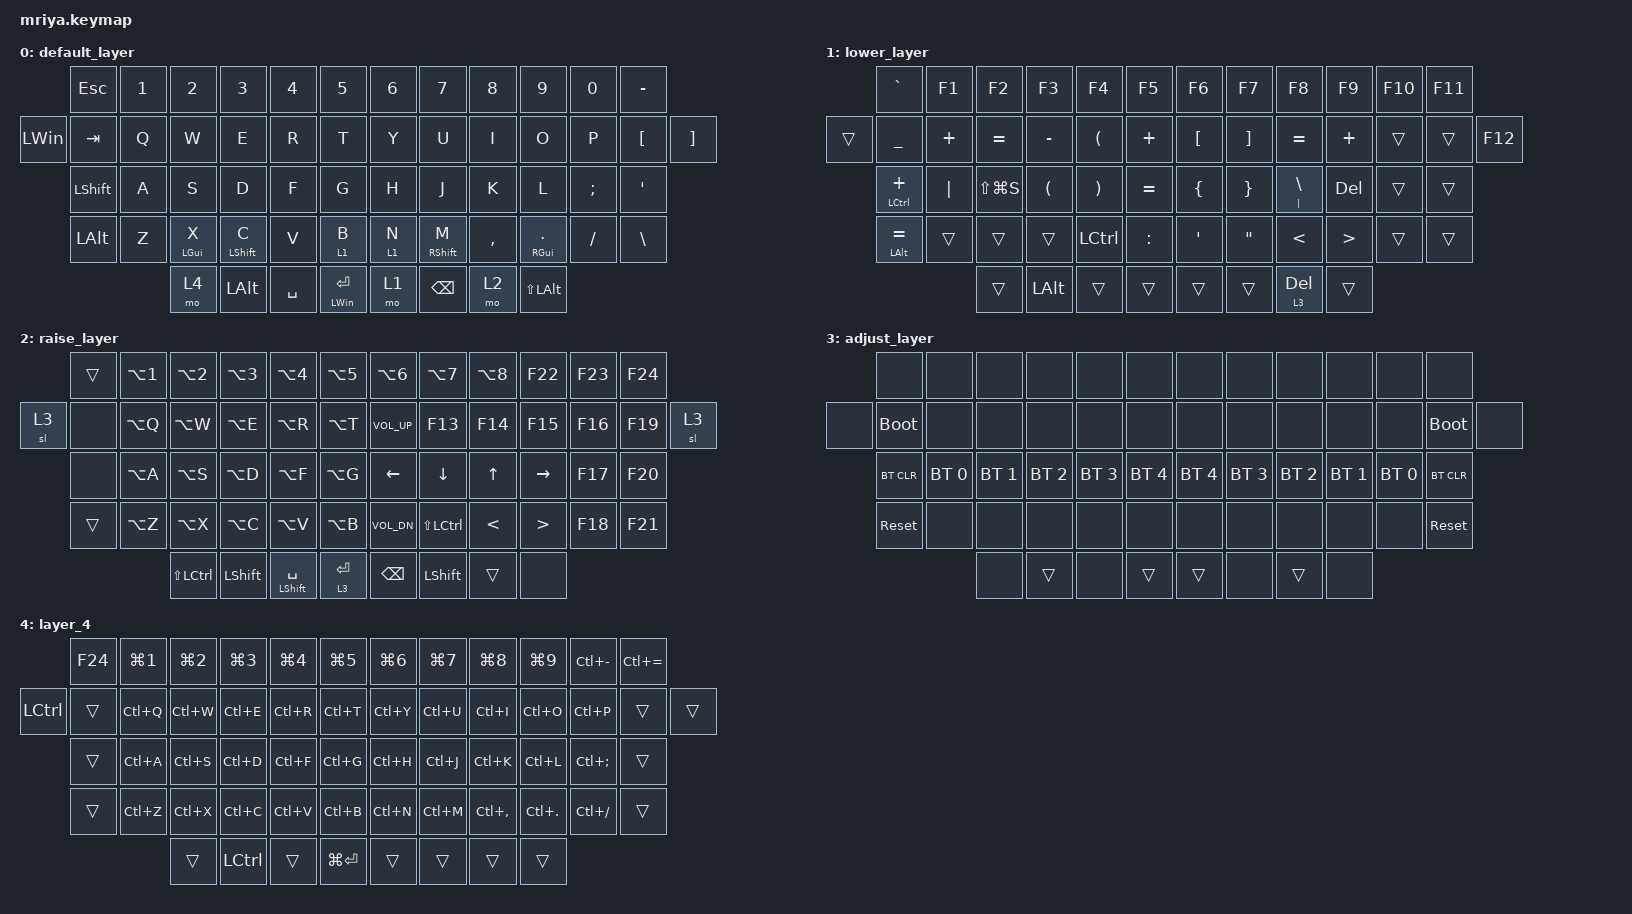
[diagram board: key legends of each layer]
/*
 * Copyright (c) 2023 Andrei Gaevskii
 *
 * SPDX-License-Identifier: MIT
 */

#include <behaviors.dtsi>
#include <dt-bindings/zmk/bt.h>
#include <dt-bindings/zmk/keys.h>

#define DEF 0
#define LWR 1
#define RSE 2
#define ADJ 3

&lt { quick_tap_ms = <200>; };

&mt {
    quick_tap_ms = <200>;
    tapping-term-ms = <150>;
    flavor = "tap-preferred";
    bindings = <&sk>, <&kp>;
};

/ {
    behaviors {
        hmr: hmr {
            compatible = "zmk,behavior-hold-tap";
            label = "HMR";
            bindings = <&kp>, <&kp>;

            #binding-cells = <2>;
            tapping-term-ms = <180>;
            flavor = "balanced";
            quick-tap-ms = <175>;
            require-prior-idle-ms = <150>;
            hold-trigger-on-release;
        };

        ctrl_enter: ctrl_enter {
            compatible = "zmk,behavior-hold-tap";
            label = "CTRL_ENTER";
            bindings = <&sk>, <&kp>;

            #binding-cells = <2>;
            tapping-term-ms = <200>;
            flavor = "tap-preferred";
        };

        mt2: mt2 {
            compatible = "zmk,behavior-hold-tap";
            label = "MT2";
            #binding-cells = <2>;
            tapping-term-ms = <400>;
            bindings = <&kp>, <&kp>;
        };

        hmr2: hmr2 {
            compatible = "zmk,behavior-hold-tap";
            label = "HMR2";
            bindings = <&mo>, <&kp>;

            #binding-cells = <2>;
            tapping-term-ms = <180>;
            flavor = "tap-preferred";
            quick-tap-ms = <175>;
            require-prior-idle-ms = <150>;
            hold-trigger-on-release;
        };
    };

    combos {
        compatible = "zmk,combos";

        enter {
            bindings = <&kp ENTER>;
            key-positions = <33 34 35>;
        };
    };

    keymap {
        compatible = "zmk,keymap";

        default_layer {
            bindings = <
          &kp ESC         &kp N1  &kp N2           &kp N3             &kp N4     &kp N5                &kp N6     &kp N7              &kp N8     &kp N9              &kp N0    &kp MINUS
&kp LWIN  &kp TAB         &kp Q   &kp W            &kp E              &kp R      &kp T                 &kp Y      &kp U               &kp I      &kp O               &kp P     &kp LBKT       &kp RIGHT_BRACKET
          &kp LEFT_SHIFT  &kp A   &kp S            &kp D              &kp F      &kp G                 &kp H      &kp J               &kp K      &kp L               &kp SEMI  &kp SQT
          &kp LALT        &kp Z   &hmr LEFT_GUI X  &hmr LEFT_SHIFT C  &kp V      &hmr2 1 B             &hmr2 1 N  &hmr RIGHT_SHIFT M  &kp COMMA  &hmr RIGHT_GUI DOT  &kp FSLH  &kp BACKSLASH
                                  &mo 4            &kp LEFT_ALT       &kp SPACE  &mt LEFT_WIN ENTER    &mo 1      &kp BACKSPACE       &mo 2      &kp LS(LEFT_ALT)
            >;
        };

        lower_layer {
            bindings = <
        &kp GRAVE       &kp F1    &kp F2         &kp F3                &kp F4                 &kp F5       &kp F6            &kp F7             &kp F8               &kp F9            &kp F10  &kp F11
&trans  &kp UNDER       &kp PLUS  &kp EQUAL      &kp MINUS             &kp LEFT_PARENTHESIS   &kp PLUS     &kp LEFT_BRACKET  &kp RIGHT_BRACKET  &kp EQUAL            &kp PLUS          &trans   &trans   &kp F12
        &mt LCTRL PLUS  &kp PIPE  &kp LS(LG(S))  &kp LEFT_PARENTHESIS  &kp RIGHT_PARENTHESIS  &kp EQUAL    &kp LEFT_BRACE    &kp RIGHT_BRACE    &hmr PIPE BACKSLASH  &kp DELETE        &trans   &trans
        &mt LALT EQUAL  &trans    &trans         &trans                &kp LCTRL              &kp COLON    &kp SQT           &kp DOUBLE_QUOTES  &kp LESS_THAN        &kp GREATER_THAN  &trans   &trans
                                  &trans         &kp LEFT_ALT          &trans                 &trans       &trans            &trans             &lt 3 DEL            &trans
            >;
        };

        raise_layer {
            bindings = <
       &trans  &kp LA(NUMBER_1)  &kp LA(NUMBER_2)  &kp LA(NUMBER_3)  &kp LA(NUMBER_4)      &kp LA(N5)    &kp LA(NUMBER_6)  &kp LA(N7)      &kp LA(NUMBER_8)  &kp F22           &kp F23  &kp F24
&sl 3  &none   &kp LA(Q)         &kp LA(W)         &kp LA(E)         &kp LA(R)             &kp LA(T)     &kp C_VOL_UP      &kp F13         &kp F14           &kp F15           &kp F16  &kp F19  &sl 3
       &none   &kp LA(A)         &kp LA(S)         &kp LA(D)         &kp LA(F)             &kp LA(G)     &kp LEFT          &kp DOWN        &kp UP            &kp RIGHT         &kp F17  &kp F20
       &trans  &kp LA(Z)         &kp LA(X)         &kp LA(C)         &kp LA(V)             &kp LA(B)     &kp C_VOL_DN      &kp LS(LCTRL)   &kp LESS_THAN     &kp GREATER_THAN  &kp F18  &kp F21
                                 &kp LS(LCTRL)     &kp LEFT_SHIFT    &mt LEFT_SHIFT SPACE  &lt 3 RET     &kp BACKSPACE     &kp LEFT_SHIFT  &trans            &none
            >;
        };

        adjust_layer {
            bindings = <
       &none        &none         &none         &none         &none         &none           &none         &none         &none         &none         &none         &none
&none  &bootloader  &none         &none         &none         &none         &none           &none         &none         &none         &none         &none         &bootloader  &none
       &bt BT_CLR   &bt BT_SEL 0  &bt BT_SEL 1  &bt BT_SEL 2  &bt BT_SEL 3  &bt BT_SEL 4    &bt BT_SEL 4  &bt BT_SEL 3  &bt BT_SEL 2  &bt BT_SEL 1  &bt BT_SEL 0  &bt BT_CLR
       &sys_reset   &none         &none         &none         &none         &none           &none         &none         &none         &none         &none         &sys_reset
                                  &none         &trans        &none         &trans          &trans        &none         &trans        &none
            >;
        };

        layer_4 {
            bindings = <
           &kp F24  &kp LG(NUMBER_1)  &kp LG(NUMBER_2)  &kp LG(NUMBER_3)  &kp LG(NUMBER_4)  &kp LG(N5)       &kp LG(NUMBER_6)  &kp LG(N7)  &kp LG(N8)     &kp LG(N9)   &kp LC(MINUS)  &kp LC(EQUAL)
&kp LCTRL  &trans   &kp LC(Q)         &kp LC(W)         &kp LC(E)         &kp LC(R)         &kp LC(T)        &kp LC(Y)         &kp LC(U)   &kp LC(I)      &kp LC(O)    &kp LC(P)      &trans         &trans
           &trans   &kp LC(A)         &kp LC(S)         &kp LC(D)         &kp LC(F)         &kp LC(G)        &kp LC(H)         &kp LC(J)   &kp LC(K)      &kp LC(L)    &kp LC(SEMI)   &trans
           &trans   &kp LC(Z)         &kp LC(X)         &kp LC(C)         &kp LC(V)         &kp LC(B)        &kp LC(N)         &kp LC(M)   &kp LC(COMMA)  &kp LC(DOT)  &kp LC(FSLH)   &trans
                                      &trans            &kp LCTRL         &trans            &kp LG(ENTER)    &trans            &trans      &trans         &trans
            >;
        };
    };
};
